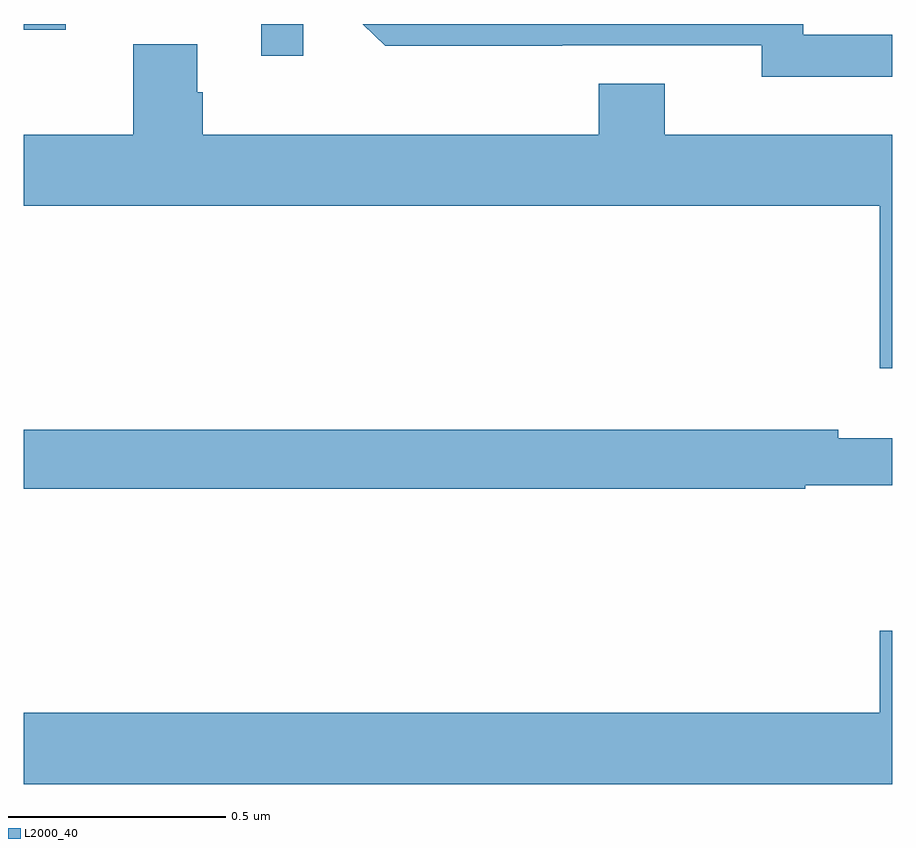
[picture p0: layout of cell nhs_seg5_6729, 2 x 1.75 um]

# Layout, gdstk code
import gdstk
lib = gdstk.Library(unit=1e-6, precision=1e-09)
def R(c, l, rs):  # rectangles x0, y0, x1, y1
    for r in rs: c.add(gdstk.rectangle(r[:2], r[2:], *l))
def P(c, l, *ps):  # polygons
    for p in ps: c.add(gdstk.Polygon(p, *l))
L2000_40 = (2000, 40)

nhs_seg5_6729 = lib.new_cell('nhs_seg5_6729')
R(nhs_seg5_6729, L2000_40, [(199.547,903.726,199.644,903.799), (199,903.786,199.096,903.799)])
P(nhs_seg5_6729, L2000_40, [(201,903.774),(200.796,903.774),(200.796,903.799),(199.781,903.799),(199.832,903.749),(200.24,903.749),(200.24,903.75),(200.7,903.75),(200.7,903.677),(201,903.677)],
  [(201,903.544),(200.476,903.544),(200.476,903.661),(200.324,903.661),(200.324,903.544),(199.412,903.544),(199.412,903.642),(199.399,903.642),(199.399,903.752),(199.252,903.752),(199.252,903.544),(199,903.544),(199,903.38),(200.972,903.38),(200.972,903.006),(201,903.006)],
  [(200.8,902.736),(201,902.736),(201,902.845),(200.876,902.845),(200.876,902.864),(199,902.864),(199,902.728),(200.8,902.728)],
  [(201,902.401),(200.972,902.401),(200.972,902.212),(199,902.212),(199,902.048),(201,902.048)])

lib.write_gds('nhs_seg5_6729.gds')
